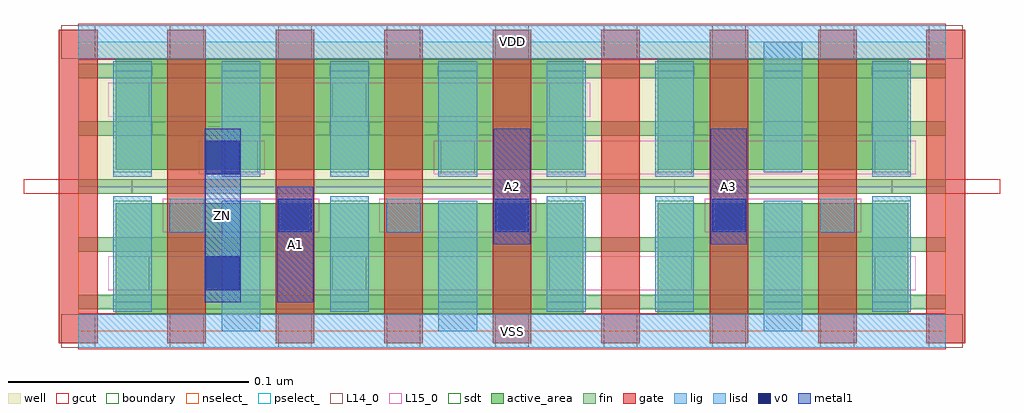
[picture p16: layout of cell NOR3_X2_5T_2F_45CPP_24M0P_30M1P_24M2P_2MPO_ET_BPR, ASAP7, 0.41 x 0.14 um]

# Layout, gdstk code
import gdstk
lib = gdstk.Library(unit=1e-6, precision=2.5e-10)
def R(c, l, rs):  # rectangles x0, y0, x1, y1
    for r in rs: c.add(gdstk.rectangle(r[:2], r[2:], *l))
def A(c, l, x, y, w, h, nx, ny, dx, dy):  # array of equal rectangles
    R(c, l, [(x+i*dx, y+j*dy, x+i*dx+w, y+j*dy+h) for i in range(nx) for j in range(ny)])
well = (1, 0)
fin = (2, 0)
gate = (7, 0)
gcut = (10, 0)
active_area = (11, 0)
nselect_ = (12, 0)
pselect_ = (13, 0)
L14_0 = (14, 0)
L15_0 = (15, 0)
lig = (16, 0)
lisd = (17, 0)
v0 = (18, 0)
metal1 = (19, 0)
sdt = (88, 0)
boundary = (100, 0)

nor3_x2_5t_2f_45cpp_24m0 = lib.new_cell('NOR3_X2_5T_2F_45CPP_24M0P_30M1P_24M2P_2MPO_ET_BPR')
R(nor3_x2_5t_2f_45cpp_24m0, well, [(0,0.06,0.36,0.12)])
A(nor3_x2_5t_2f_45cpp_24m0, fin, 0, 0.009, 0.36, 0.006, 1, 5, 0, 0.024)
A(nor3_x2_5t_2f_45cpp_24m0, gate, -0.008, -0.005, 0.016, 0.13, 9, 1, 0.045, 0)
R(nor3_x2_5t_2f_45cpp_24m0, gcut, [(0,-0.0075,0.36,0.0075), (-0.0225,0.057,0.0225,0.063), (0.2025,0.057,0.2475,0.063), (0.3375,0.057,0.3825,0.063), (0,0.1125,0.36,0.1275)])
R(nor3_x2_5t_2f_45cpp_24m0, active_area, [(0.0155,0.007,0.1195,0.053), (0.1055,0.007,0.2095,0.053), (0.2405,0.007,0.3445,0.053), (0.0155,0.067,0.1195,0.113), (0.1055,0.067,0.2095,0.113), (0.2405,0.067,0.3445,0.113)])
R(nor3_x2_5t_2f_45cpp_24m0, nselect_, [(0,0,0.36,0.06)])
R(nor3_x2_5t_2f_45cpp_24m0, pselect_, [(0,0.06,0.36,0.12)])
A(nor3_x2_5t_2f_45cpp_24m0, L14_0, -0.007, -0.007, 0.014, 0.014, 9, 2, 0.045, 0.12)
A(nor3_x2_5t_2f_45cpp_24m0, L14_0, 0.0155, 0.017, 0.014, 0.014, 3, 2, 0.09, 0.072)
A(nor3_x2_5t_2f_45cpp_24m0, L14_0, 0.038, 0.041, 0.014, 0.014, 4, 1, 0.045, 0)
A(nor3_x2_5t_2f_45cpp_24m0, L14_0, 0.0605, 0.065, 0.014, 0.014, 4, 1, 0.09, 0)
R(nor3_x2_5t_2f_45cpp_24m0, L14_0, [(0.2405,0.017,0.2545,0.031), (0.3305,0.017,0.3445,0.031), (0.263,0.041,0.277,0.055), (0.308,0.041,0.322,0.055)])
R(nor3_x2_5t_2f_45cpp_24m0, L15_0, [(0,-0.007,0.36,0.007), (0.0125,0.017,0.3475,0.031), (0.035,0.041,0.1,0.055), (0.125,0.041,0.19,0.055), (0.26,0.041,0.325,0.055), (0.05,0.065,0.0775,0.079), (0.1475,0.065,0.3475,0.079), (0.0125,0.089,0.2125,0.103), (0,0.113,0.36,0.127)])
A(nor3_x2_5t_2f_45cpp_24m0, lig, 0.038, 0.041, 0.014, 0.014, 4, 1, 0.045, 0)
R(nor3_x2_5t_2f_45cpp_24m0, lig, [(0,-0.007,0.36,0.007), (0.263,0.041,0.277,0.055), (0.308,0.041,0.322,0.055), (0,0.113,0.36,0.127)])
A(nor3_x2_5t_2f_45cpp_24m0, lisd, 0.0145, 0.008, 0.016, 0.048, 3, 1, 0.09, 0)
A(nor3_x2_5t_2f_45cpp_24m0, lisd, 0.0145, 0.064, 0.016, 0.048, 6, 1, 0.045, 0)
R(nor3_x2_5t_2f_45cpp_24m0, lisd, [(0.0595,0,0.0755,0.054), (0.1495,0,0.1655,0.054), (0.2845,0,0.3005,0.054), (0.2395,0.008,0.2555,0.056), (0.3295,0.008,0.3455,0.056), (0.3295,0.064,0.3455,0.112), (0.2845,0.066,0.3005,0.12)])
A(nor3_x2_5t_2f_45cpp_24m0, v0, 0.083, 0.041, 0.014, 0.014, 3, 1, 0.09, 0)
R(nor3_x2_5t_2f_45cpp_24m0, v0, [(0.053,0.017,0.067,0.031), (0.053,0.065,0.067,0.079)])
R(nor3_x2_5t_2f_45cpp_24m0, metal1, [(0.0525,0.012,0.0675,0.084), (0.0825,0.012,0.0975,0.06), (0.1725,0.036,0.1875,0.084), (0.2625,0.036,0.2775,0.084)])
A(nor3_x2_5t_2f_45cpp_24m0, sdt, 0.0145, 0.012, 0.016, 0.042, 8, 2, 0.045, 0.054)
R(nor3_x2_5t_2f_45cpp_24m0, boundary, [(0,0,0.36,0.12)])
nor3_x2_5t_2f_45cpp_24m0.add(gdstk.Label('A3', (0.27,0.06), layer=19, texttype=251))
nor3_x2_5t_2f_45cpp_24m0.add(gdstk.Label('A2', (0.18,0.06), layer=19, texttype=251))
nor3_x2_5t_2f_45cpp_24m0.add(gdstk.Label('A1', (0.09,0.036), layer=19, texttype=251))
nor3_x2_5t_2f_45cpp_24m0.add(gdstk.Label('ZN', (0.06,0.048), layer=19, texttype=251))
nor3_x2_5t_2f_45cpp_24m0.add(gdstk.Label('VDD', (0.18,0.12), layer=15, texttype=251))
nor3_x2_5t_2f_45cpp_24m0.add(gdstk.Label('VSS', (0.18,0), layer=15, texttype=251))
nor3_x2_5t_2f_45cpp_24m0.add(gdstk.Label('VDD', (0.18,0.12), layer=1, texttype=251))
nor3_x2_5t_2f_45cpp_24m0.add(gdstk.Label('VSS', (0.18,0), layer=3, texttype=251))

lib.write_gds('NOR3_X2_5T_2F_45CPP_24M0P_30M1P_24M2P_2MPO_ET_BPR.gds')
